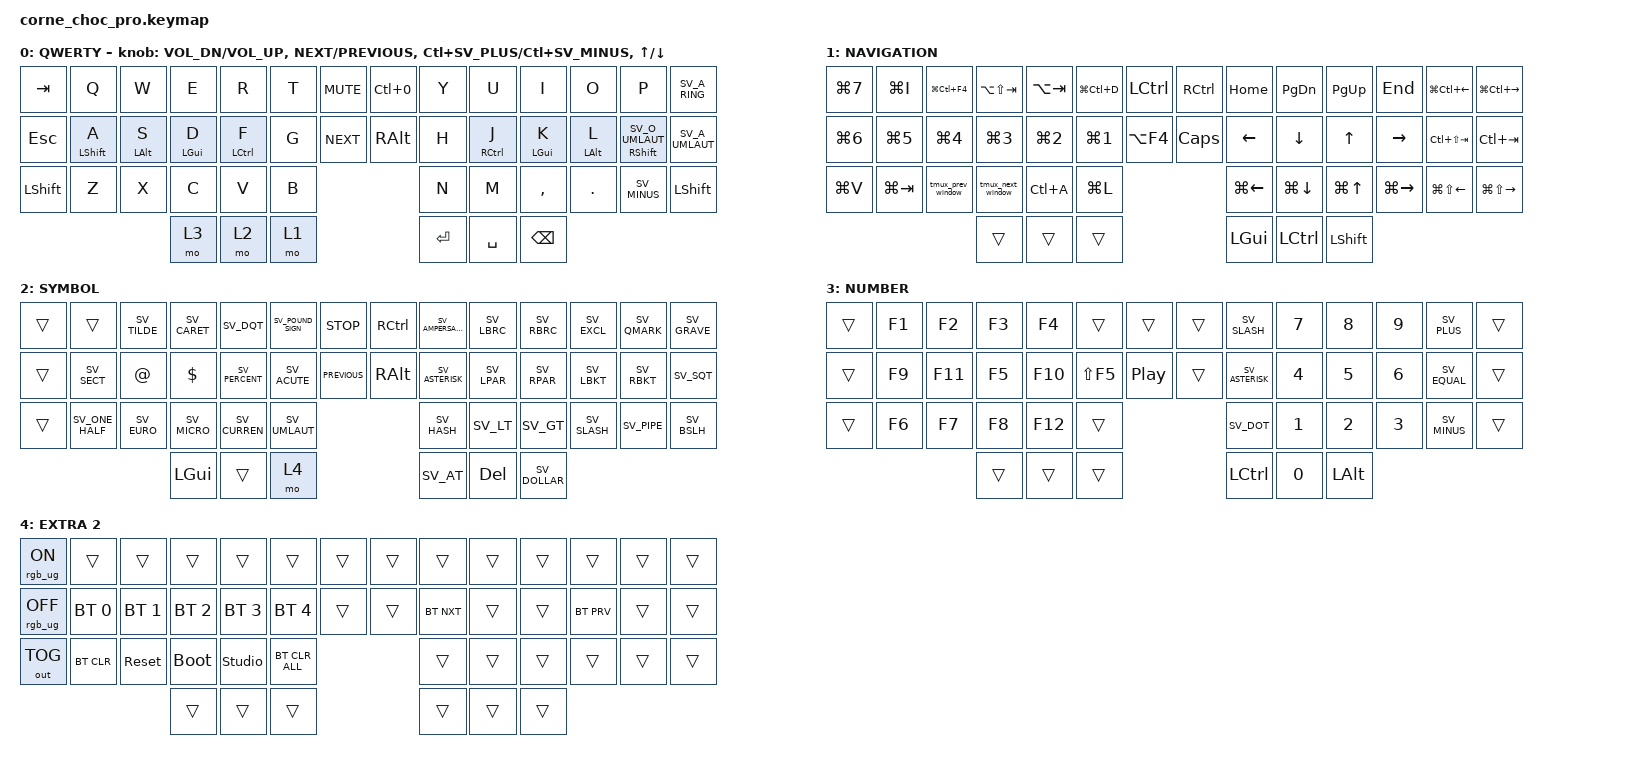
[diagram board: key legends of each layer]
/*
 * Copyright (c) 2020 The ZMK Contributors
 *
 * SPDX-License-Identifier: MIT
 */

#include <behaviors.dtsi>
#include <dt-bindings/zmk/bt.h>
#include <dt-bindings/zmk/keys.h>
#include <dt-bindings/zmk/outputs.h>
#include <dt-bindings/zmk/rgb.h>
#include "keys_sv.h"

/ {
    chosen { zmk,physical-layout = &default_layout; };
};

/ {
    behaviors {
        left_hold_tap: left_hold_tap {
            compatible = "zmk,behavior-hold-tap";
            label = "LEFT_HOLD_TAP";
            bindings = <&kp>, <&kp>;

            #binding-cells = <2>;
            tapping-term-ms = <200>;
            hold-trigger-key-positions = <7 8 9 10 10 11 12 13 24 25 26 27 36 37 38 39 7 8 9 11 12 13 21 22 23 24 25 26 27 34 35 36 37 38 39 43 44 45>;
            flavor = "tap-preferred";
            require-prior-idle-ms = <150>;
            retro-tap;
            hold-trigger-on-release;
        };

        right_hold_tap: right_hold_tap {
            compatible = "zmk,behavior-hold-tap";
            label = "RIGHT_HOLD_TAP";
            bindings = <&kp>, <&kp>;

            #binding-cells = <2>;
            tapping-term-ms = <200>;
            flavor = "tap-preferred";
            require-prior-idle-ms = <150>;
            hold-trigger-key-positions = <0 1 2 3 4 5 6 14 15 16 17 18 19 20 28 29 30 31 32 33 42 41 40>;
            retro-tap;
            hold-trigger-on-release;
        };

        left_hold_tap_restrictive: left_hold_tap_restrictive {
            compatible = "zmk,behavior-hold-tap";
            label = "LEFT_HOLD_TAP_RESTRICTIVE";
            bindings = <&kp>, <&kp>;

            #binding-cells = <2>;
            tapping-term-ms = <300>;
            hold-trigger-key-positions = <7 8 9 10 10 11 12 13 24 25 26 27 36 37 38 39 7 8 9 11 12 13 21 22 23 24 25 26 27 34 35 36 37 38 39 43 44 45>;
            flavor = "tap-preferred";
            require-prior-idle-ms = <500>;
            retro-tap;
            hold-trigger-on-release;
        };

        right_hold_tap_restrictive: right_hold_tap_restrictive {
            compatible = "zmk,behavior-hold-tap";
            label = "RIGHT_HOLD_TAP_RESTRICTIVE";
            bindings = <&kp>, <&kp>;

            #binding-cells = <2>;
            tapping-term-ms = <300>;
            flavor = "tap-preferred";
            require-prior-idle-ms = <502>;
            hold-trigger-key-positions = <0 1 2 3 4 5 6 14 15 16 17 18 19 20 28 29 30 31 32 33 42 41 40>;
            retro-tap;
            hold-trigger-on-release;
        };
    };

    macros {
        tmux_next_window: tmux_next_window {
            compatible = "zmk,behavior-macro";
            #binding-cells = <0>;
            bindings = <&kp LC(A) &kp N>;
            label = "TMUX_NEXT_WINDOW";
        };

        tmux_prev_window: tmux_prev_window {
            compatible = "zmk,behavior-macro";
            #binding-cells = <0>;
            bindings = <&kp LC(A) &kp P>;
            label = "TMUX_PREV_WINDOW";
        };
    };

    keymap {
        compatible = "zmk,keymap";

        default_layer {
            display-name = "QWERTY";
            bindings = <
&kp TAB     &kp Q                        &kp W                                  &kp E                                  &kp R                               &kp T  &kp C_MUTE  &kp LC(N0)  &kp Y      &kp U                                &kp I                                   &kp O                                   &kp P                                    &kp SV_A_RING
&kp ESCAPE  &left_hold_tap LEFT_SHIFT A  &left_hold_tap_restrictive LEFT_ALT S  &left_hold_tap_restrictive LEFT_GUI D  &left_hold_tap_restrictive LCTRL F  &kp G  &kp C_NEXT  &kp RALT    &kp H      &right_hold_tap_restrictive RCTRL J  &right_hold_tap_restrictive LEFT_GUI K  &right_hold_tap_restrictive LEFT_ALT L  &right_hold_tap RIGHT_SHIFT SV_O_UMLAUT  &kp SV_A_UMLAUT
&kp LSHFT   &kp Z                        &kp X                                  &kp C                                  &kp V                               &kp B                          &kp N      &kp M                                &kp COMMA                               &kp DOT                                 &kp SV_MINUS                             &kp LSHFT
                                                                                &mo 3                                  &mo 2                               &mo 1                          &kp ENTER  &kp SPACE                            &kp BACKSPACE
            >;

            sensor-bindings =
                <&inc_dec_kp C_VOL_DN C_VOL_UP>,
                <&inc_dec_kp C_NEXT C_PREVIOUS>,
                <&inc_dec_kp LC(SV_PLUS) LC(SV_MINUS)>,
                <&inc_dec_kp UP DOWN>;
        };

        NAV {
            display-name = "NAVIGATION";
            bindings = <
&kp LG(N7)  &kp LG(I)    &kp LG(LC(F4))     &kp LA(LS(TAB))    &kp LA(TAB)  &kp LG(LC(D))  &kp LCTRL   &kp RCTRL  &kp HOME      &kp PAGE_DOWN  &kp PG_UP   &kp END        &kp LG(LC(LEFT))  &kp LG(LC(RIGHT))
&kp LG(N6)  &kp LG(N5)   &kp LG(N4)         &kp LG(N3)         &kp LG(N2)   &kp LG(N1)     &kp LA(F4)  &kp CAPS   &kp LEFT      &kp DOWN       &kp UP      &kp RIGHT      &kp LC(LS(TAB))   &kp LC(TAB)
&kp LG(V)   &kp LG(TAB)  &tmux_prev_window  &tmux_next_window  &kp LC(A)    &kp LG(L)                             &kp LG(LEFT)  &kp LG(DOWN)   &kp LG(UP)  &kp LG(RIGHT)  &kp LG(LS(LEFT))  &kp LG(LS(RIGHT))
                                            &trans             &trans       &trans                                &kp LGUI      &kp LCTRL      &kp LSHFT
            >;
        };

        sym {
            display-name = "SYMBOL";
            bindings = <
&trans  &trans           &kp SV_TILDE  &kp SV_CARET  &kp SV_DQT      &kp SV_POUND_SIGN  &kp C_STOP      &kp RCTRL  &kp SV_AMPERSAND  &kp SV_LBRC  &kp SV_RBRC    &kp SV_EXCL   &kp SV_QMARK  &kp SV_GRAVE
&trans  &kp SV_SECT      &kp AT        &kp DOLLAR    &kp SV_PERCENT  &kp SV_ACUTE       &kp C_PREVIOUS  &kp RALT   &kp SV_ASTERISK   &kp SV_LPAR  &kp SV_RPAR    &kp SV_LBKT   &kp SV_RBKT   &kp SV_SQT
&trans  &kp SV_ONE_HALF  &kp SV_EURO   &kp SV_MICRO  &kp SV_CURREN   &kp SV_UMLAUT                                 &kp SV_HASH       &kp SV_LT    &kp SV_GT      &kp SV_SLASH  &kp SV_PIPE   &kp SV_BSLH
                                       &kp LGUI      &trans          &mo 4                                         &kp SV_AT         &kp DELETE   &kp SV_DOLLAR
            >;
        };

        num {
            display-name = "NUMBER";
            bindings = <
&trans  &kp F1  &kp F2   &kp F3  &kp F4   &trans      &trans            &trans  &kp SV_SLASH     &kp N7  &kp N8    &kp N9        &kp SV_PLUS   &trans
&trans  &kp F9  &kp F11  &kp F5  &kp F10  &kp LS(F5)  &kp C_PLAY_PAUSE  &trans  &kp SV_ASTERISK  &kp N4  &kp N5    &kp N6        &kp SV_EQUAL  &trans
&trans  &kp F6  &kp F7   &kp F8  &kp F12  &trans                                &kp SV_DOT       &kp N1  &kp N2    &kp NUMBER_3  &kp SV_MINUS  &trans
                         &trans  &trans   &trans                                &kp LCTRL        &kp N0  &kp LALT
            >;
        };

        SYSTEM {
            display-name = "EXTRA 2";
            bindings = <
&rgb_ug RGB_ON   &trans        &trans        &trans        &trans          &trans          &trans  &trans  &trans      &trans  &trans  &trans      &trans  &trans
&rgb_ug RGB_OFF  &bt BT_SEL 0  &bt BT_SEL 1  &bt BT_SEL 2  &bt BT_SEL 3    &bt BT_SEL 4    &trans  &trans  &bt BT_NXT  &trans  &trans  &bt BT_PRV  &trans  &trans
&out OUT_TOG     &bt BT_CLR    &sys_reset    &bootloader   &studio_unlock  &bt BT_CLR_ALL                  &trans      &trans  &trans  &trans      &trans  &trans
                                             &trans        &trans          &trans                          &trans      &trans  &trans
            >;
        };
    };
};
